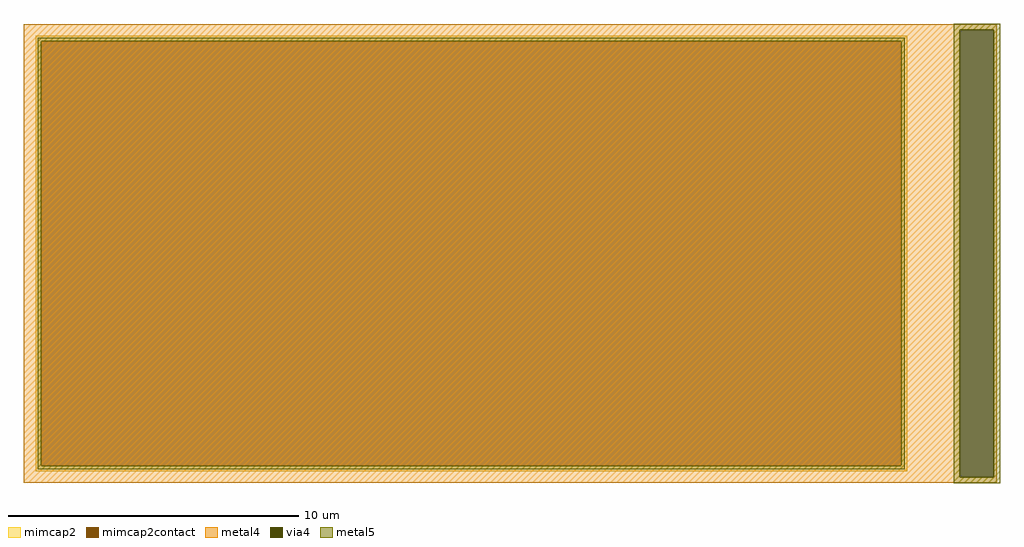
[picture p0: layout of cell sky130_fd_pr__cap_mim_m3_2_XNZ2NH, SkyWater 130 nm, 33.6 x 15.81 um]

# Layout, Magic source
magic
tech sky130A
magscale 1 2
<< metal4 >>
rect -3349 1539 3349 1580
rect -3349 -1539 3093 1539
rect 3329 -1539 3349 1539
rect -3349 -1580 3349 -1539
<< via4 >>
rect 3093 -1539 3329 1539
<< mimcap2 >>
rect -3269 1460 2731 1500
rect -3269 -1460 -3229 1460
rect 2691 -1460 2731 1460
rect -3269 -1500 2731 -1460
<< mimcap2contact >>
rect -3229 -1460 2691 1460
<< metal5 >>
rect 3051 1539 3371 1581
rect -3253 1460 2715 1484
rect -3253 -1460 -3229 1460
rect 2691 -1460 2715 1460
rect -3253 -1484 2715 -1460
rect 3051 -1539 3093 1539
rect 3329 -1539 3371 1539
rect 3051 -1581 3371 -1539
<< properties >>
string FIXED_BBOX -3349 -1580 2811 1580
string gencell sky130_fd_pr__cap_mim_m3_2
string library sky130
string parameters w 30.0 l 15.0 val 917.1 carea 2.00 cperi 0.19 nx 1 ny 1 dummy 0 square 0 lmin 2.00 wmin 2.00 lmax 30.0 wmax 30.0 dc 0 bconnect 1 tconnect 1 ccov 100
<< end >>
